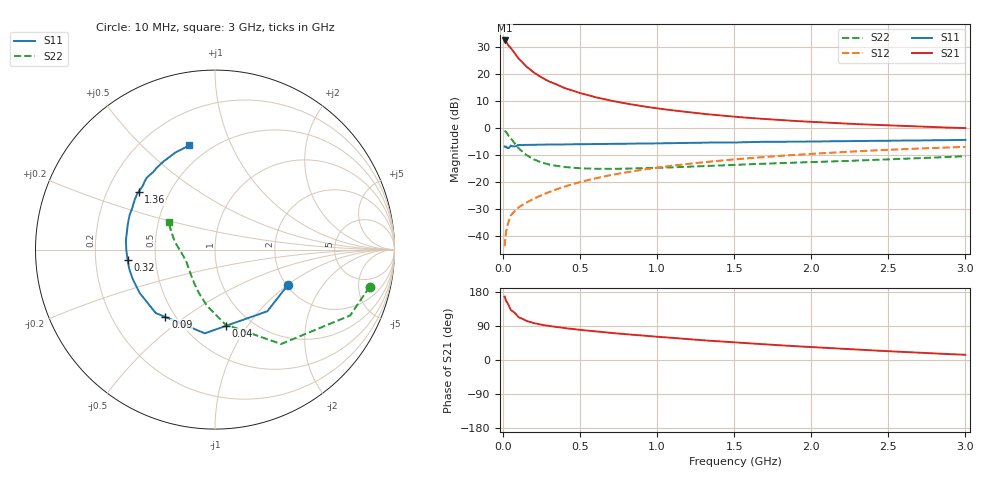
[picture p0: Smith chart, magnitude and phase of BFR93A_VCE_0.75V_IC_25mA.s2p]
! Infineon Technologies  Discrete & RF Semiconductors
! BFR93A
! VCE = 0.75 V,  IC =  25 mA
! Common Emitter S-Parameters:  Nov 2015
# GHz  S  MA  R  50
!  f  S11  S21  S12  S22
! GHz  MAG  ANG  MAG  ANG  MAG  ANG  MAG  ANG
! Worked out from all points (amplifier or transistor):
!   180 points, 10 MHz to 3 GHz, reference 50 ohm
!   highest |S21| = 32.4 dB at 10 MHz (marker M1)
!   |S21| within 3 dB of that: start of sweep to 52.36 MHz
!   unconditionally stable (mu >= 1): 286.9 MHz to end of sweep
!   at 160 MHz: K = 0.81, MSG = 24.9 dB, |S12| = -27.5 dB
!   at 1.22 GHz: K = 1.12, MAG = 7.4 dB, |S12| = -13.2 dB
!   at 3 GHz: K = 1.04, MAG = 2.2 dB, |S12| = -7.0 dB
!   S11 on the Smith chart (normalised r, x): 10 MHz: 2.02, -1.01; 40 MHz: 0.77, -0.80; 90 MHz: 0.44, -0.42; 320 MHz: 0.34, -0.05; 1.36 GHz: 0.33, +0.30; 3 GHz: 0.39, +0.71
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0.01  0.4508 -26.3  41.75 167.3  0.0064 79.9  0.8862 -13.5
0.02  0.4505 -49.7  39.16 155.9  0.0121 73.3  0.8378 -26.0
0.04  0.4296 -82.0  32.45 141.4  0.0197 62.8  0.6859 -43.6
0.05  0.4698 -96.9  30.12 132.0  0.0237 60.1  0.6422 -55.0
0.09  0.4663 -126.3  21.29 118.1  0.0314 55.5  0.4542 -74.8
0.1  0.4839 -133.1  19.38 112.8  0.0334 54.7  0.4202 -82.2
0.15  0.4842 -150.1  13.75 103.2  0.0407 56.8  0.3153 -98.3
0.2  0.4867 -160.1  10.59 97.3  0.0486 59.3  0.2598 -109.8
0.24  0.4886 -165.5  8.97 93.9  0.0548 61.1  0.2342 -117.0
0.3  0.4901 -171.5  7.214 89.5  0.0647 63.2  0.2084 -126.4
0.32  0.4901 -173.1  6.858 88.6  0.0681 63.7  0.2037 -128.5
0.4  0.4939 -179.4  5.456 84.0  0.0815 65.1  0.188 -138.1
0.52  0.4989 173.3  4.27 78.7  0.1022 65.6  0.1774 -147.5
0.6  0.5004 169.4  3.704 75.3  0.116 65.3  0.1744 -153.0
0.7  0.5044 165.3  3.197 71.5  0.1333 64.8  0.1737 -158.3
0.82  0.5096 160.6  2.76 67.3  0.1532 63.7  0.1757 -163.8
1.02  0.5161 153.3  2.258 60.7  0.1863 61.2  0.1818 -170.7
1.36  0.5335 142.9  1.751 50.4  0.2394 56.3  0.1974 179.9
1.52  0.5373 138.4  1.591 46.1  0.2629 54.0  0.2068 176.2
2.02  0.5594 125.7  1.284 33.7  0.3319 46.6  0.2326 167.1
2.52  0.5789 114.7  1.105 22.7  0.3941 38.5  0.2613 158.3
3  0.5986 103.9  0.99 13.7  0.4447 30.8  0.2975 149.4
